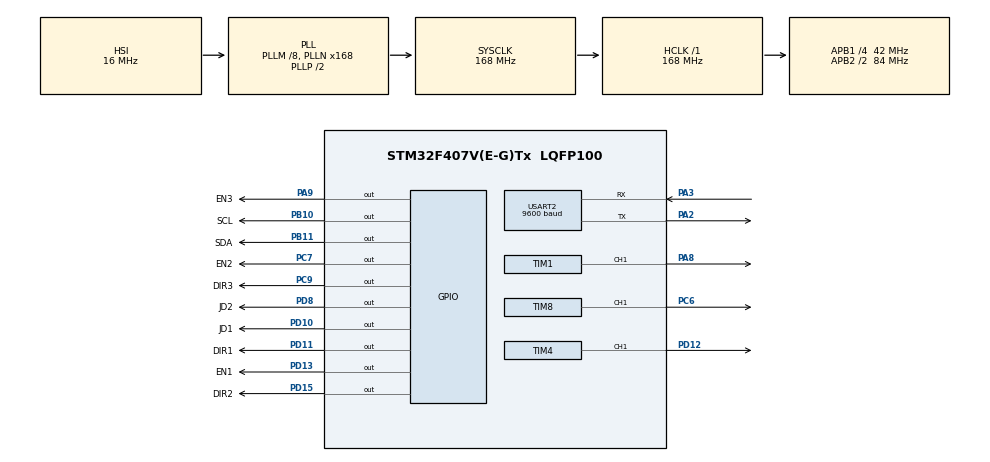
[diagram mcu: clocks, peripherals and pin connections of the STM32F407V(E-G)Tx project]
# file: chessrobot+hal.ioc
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Mcu.Family=STM32F4
Mcu.Name=STM32F407V(E-G)Tx
Mcu.Package=LQFP100
NVIC.PriorityGroup=NVIC_PRIORITYGROUP_4
NVIC.TIM1_UP_TIM10_IRQn=true\:0\:0\:false\:false\:true\:true\:true\:true
NVIC.TIM4_IRQn=true\:0\:0\:false\:false\:true\:true\:true\:true
NVIC.TIM8_UP_TIM13_IRQn=true\:0\:0\:false\:false\:true\:true\:true\:true
NVIC.USART2_IRQn=true\:1\:0\:true\:false\:true\:true\:true\:true
PA13.Mode=Serial_Wire
PA13.Signal=SYS_JTMS-SWDIO
PA14.Mode=Serial_Wire
PA14.Signal=SYS_JTCK-SWCLK
PA2.Mode=Asynchronous
PA2.Signal=USART2_TX
PA3.Mode=Asynchronous
PA3.Signal=USART2_RX
PA8.Signal=S_TIM1_CH1
PA9.GPIO_Label=EN3
PA9.GPIO_Speed=GPIO_SPEED_FREQ_MEDIUM
PA9.Signal=GPIO_Output
PB10.GPIO_Label=SCL
PB10.GPIO_ModeDefaultOutputPP=GPIO_MODE_OUTPUT_OD
PB10.GPIO_PuPd=GPIO_PULLUP
PB10.Signal=GPIO_Output
PB11.GPIO_Label=SDA
PB11.GPIO_ModeDefaultOutputPP=GPIO_MODE_OUTPUT_OD
PB11.GPIO_PuPd=GPIO_PULLUP
PB11.Signal=GPIO_Output
PC14-OSC32_IN.Mode=LSE-External-Oscillator
PC14-OSC32_IN.Signal=RCC_OSC32_IN
PC15-OSC32_OUT.Mode=LSE-External-Oscillator
PC15-OSC32_OUT.Signal=RCC_OSC32_OUT
PC6.Signal=S_TIM8_CH1
PC7.GPIO_Label=EN2
PC7.GPIO_Speed=GPIO_SPEED_FREQ_MEDIUM
PC7.Signal=GPIO_Output
PC9.GPIO_Label=DIR3
PC9.GPIO_Speed=GPIO_SPEED_FREQ_MEDIUM
PC9.Signal=GPIO_Output
PD10.GPIO_Label=JD1
PD10.GPIO_ModeDefaultOutputPP=GPIO_MODE_OUTPUT_PP
PD10.GPIO_PuPd=GPIO_NOPULL
PD10.PinState=GPIO_PIN_SET
PD10.Signal=GPIO_Output
PD11.GPIO_Label=DIR1
PD11.GPIO_Speed=GPIO_SPEED_FREQ_MEDIUM
PD11.Signal=GPIO_Output
PD12.Signal=S_TIM4_CH1
PD13.GPIO_Label=EN1
PD13.GPIO_Speed=GPIO_SPEED_FREQ_MEDIUM
PD13.Signal=GPIO_Output
PD15.GPIO_Label=DIR2
PD15.GPIO_Speed=GPIO_SPEED_FREQ_MEDIUM
PD15.Signal=GPIO_Output
PD8.GPIO_Label=JD2
PD8.Signal=GPIO_Output
PH0-OSC_IN.Mode=HSE-External-Oscillator
PH0-OSC_IN.Signal=RCC_OSC_IN
PH1-OSC_OUT.Mode=HSE-External-Oscillator
PH1-OSC_OUT.Signal=RCC_OSC_OUT
ProjectManager.HeapSize=0x200
ProjectManager.StackSize=0x400
ProjectManager.TargetToolchain=MDK-ARM V5.32
RCC.48MHZClocksFreq_Value=84000000
RCC.AHBFreq_Value=168000000
RCC.APB1CLKDivider=RCC_HCLK_DIV4
RCC.APB1Freq_Value=42000000
RCC.APB1TimFreq_Value=84000000
RCC.APB2CLKDivider=RCC_HCLK_DIV2
RCC.APB2Freq_Value=84000000
RCC.APB2TimFreq_Value=168000000
RCC.CortexFreq_Value=168000000
RCC.HCLKFreq_Value=168000000
RCC.HSE_VALUE=25000000
RCC.HSI_VALUE=16000000
RCC.PLLM=8
RCC.PLLN=168
RCC.SYSCLKFreq_VALUE=168000000
RCC.SYSCLKSource=RCC_SYSCLKSOURCE_PLLCLK
RCC.VCOOutputFreq_Value=336000000
SH.S_TIM1_CH1.0=TIM1_CH1,PWM Generation1 CH1
SH.S_TIM4_CH1.0=TIM4_CH1,PWM Generation1 CH1
SH.S_TIM8_CH1.0=TIM8_CH1,PWM Generation1 CH1
TIM1.AutoReloadPreload=TIM_AUTORELOAD_PRELOAD_ENABLE
TIM1.Channel-PWM\ Generation1\ CH1=TIM_CHANNEL_1
TIM1.Period=10000-1
TIM1.Prescaler=168-1
TIM13.Prescaler=168-1
TIM4.AutoReloadPreload=TIM_AUTORELOAD_PRELOAD_ENABLE
TIM4.Channel-PWM\ Generation1\ CH1=TIM_CHANNEL_1
TIM4.Period=10000-1
TIM4.Prescaler=168-1
TIM8.AutoReloadPreload=TIM_AUTORELOAD_PRELOAD_ENABLE
TIM8.Channel-PWM\ Generation1\ CH1=TIM_CHANNEL_1
TIM8.Period=10000-1
TIM8.Prescaler=168-1
TIM8.Pulse-PWM\ Generation1\ CH1=0
USART2.BaudRate=9600
USART2.VirtualMode=VM_ASYNC
VP_TIM13_VS_ClockSourceINT.Mode=Enable_Timer
VP_TIM1_VS_ClockSourceINT.Mode=Internal
VP_TIM4_VS_ClockSourceINT.Mode=Internal
VP_TIM8_VS_ClockSourceINT.Mode=Internal
board=custom

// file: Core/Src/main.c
/* USER CODE BEGIN Header */
/**
  ******************************************************************************
  * @file           : main.c
  * @brief          : Main program body
  ******************************************************************************
  * @attention
  *
  * Copyright (c) 2025 STMicroelectronics.
  * All rights reserved.
  *
  * This software is licensed under terms that can be found in the LICENSE file
  * in the root directory of this software component.
  * If no LICENSE file comes with this software, it is provided AS-IS.
  *
  ******************************************************************************
  */
/* USER CODE END Header */
#include "main.h"
#include "tim.h"
#include "usart.h"
#include "gpio.h"

/* USER CODE BEGIN Includes */
#include "H_Oled.h"
#include "tmc2209.h"
#include "poscal.h"
#include "airpump.h"
#include "Serial.h"
// #include "chess.h"
/* USER CODE END Includes */

/* USER CODE BEGIN PV */
typedef struct {
  float x, y, z;
} chess;

//中心坐标
chess chess_center={208,0,-40};
chess black_position={128,179,-50};
chess white_position={128,-179,-50};

//0表示放,1表示取
extern uint8_t putflag;
//0黑1白
extern uint8_t color;
extern uint8_t chess_x,chess_y;

//主程序状态
uint8_t status=0;
/* USER CODE END PV */

void SystemClock_Config(void);

int main(void)
{

  /* MCU Configuration--------------------------------------------------------*/

  /* Reset of all peripherals, Initializes the Flash interface and the Systick. */
  HAL_Init();

  /* Configure the system clock */
  SystemClock_Config();

  /* Initialize all configured peripherals */
  MX_GPIO_Init();
  MX_USART2_UART_Init();
  MX_TIM1_Init();
  MX_TIM4_Init();
  MX_TIM8_Init();
  MX_TIM13_Init();
  /* USER CODE BEGIN 2 */
  HAL_Delay(50);
  OLED_Init();
  HAL_Delay(50);
  OLED_Clear();
  HAL_Delay(50);
  /* USER CODE END 2 */

  /* Infinite loop */
  /* USER CODE BEGIN WHILE */

  //初始化电机
  tmc2209_init();
  //初始化气泵
  chess_init();
  //初始化串口
  Serial_Init();

  chess chess_temp;

  while (1)
  {
    if(status!=0){//串口接收数据已完成
      chess_temp.x=chess_x;
      chess_temp.y=chess_y;
      chess_temp.z=-40;
      if(putflag==0){
        switch (color){
          case 0://黑棋
          //0为吸
          angele_smothmove(black_position.x,black_position.y,black_position.z,0);
          //1为放
          angele_smothmove((chess_temp.x-7)*20+chess_center.x,(chess_temp.y-7)*20+chess_center.y,chess_temp.z,1);
          break;
          case 1://白棋
          //0为吸
          angele_smothmove(white_position.x,white_position.y,white_position.z,0);
          //1为放
          angele_smothmove((chess_temp.x-7)*20+chess_center.x,(chess_temp.y-7)*20+chess_center.y,chess_temp.z,1);
          break;
        }
      }else{
        switch (color){
          case 0://黑棋
          //0为吸
          //1为放
          angele_smothmove((chess_temp.x-7)*20+chess_center.x,(chess_temp.y-7)*20+chess_center.y,chess_temp.z,0);
          angele_smothmove(black_position.x,black_position.y,black_position.z,1);
          break;
          case 1://白棋
          //0为吸
          //1为放
          angele_smothmove((chess_temp.x-7)*20+chess_center.x,(chess_temp.y-7)*20+chess_center.y,chess_temp.z,0);
          angele_smothmove(white_position.x,white_position.y,white_position.z,0);
          break;
        }
      }
      //等待串口接收数据
      status=0;
      Serial_Send_Hexbuffer(0x01);
    }
    /* USER CODE END WHILE */

  }
}

void SystemClock_Config(void)
{
  RCC_OscInitTypeDef RCC_OscInitStruct = {0};
  RCC_ClkInitTypeDef RCC_ClkInitStruct = {0};

  /** Configure the main internal regulator output voltage
  */
  __HAL_RCC_PWR_CLK_ENABLE();
  __HAL_PWR_VOLTAGESCALING_CONFIG(PWR_REGULATOR_VOLTAGE_SCALE1);

  /** Initializes the RCC Oscillators according to the specified parameters
  * in the RCC_OscInitTypeDef structure.
  */
  RCC_OscInitStruct.OscillatorType = RCC_OSCILLATORTYPE_HSI;
  RCC_OscInitStruct.HSIState = RCC_HSI_ON;
  RCC_OscInitStruct.HSICalibrationValue = RCC_HSICALIBRATION_DEFAULT;
  RCC_OscInitStruct.PLL.PLLState = RCC_PLL_ON;
  RCC_OscInitStruct.PLL.PLLSource = RCC_PLLSOURCE_HSI;
  RCC_OscInitStruct.PLL.PLLM = 8;
  RCC_OscInitStruct.PLL.PLLN = 168;
  RCC_OscInitStruct.PLL.PLLP = RCC_PLLP_DIV2;
  RCC_OscInitStruct.PLL.PLLQ = 4;
  if (HAL_RCC_OscConfig(&RCC_OscInitStruct) != HAL_OK)
  {
    Error_Handler();
  }

  /** Initializes the CPU, AHB and APB buses clocks
  */
  RCC_ClkInitStruct.ClockType = RCC_CLOCKTYPE_HCLK|RCC_CLOCKTYPE_SYSCLK
                              |RCC_CLOCKTYPE_PCLK1|RCC_CLOCKTYPE_PCLK2;
  RCC_ClkInitStruct.SYSCLKSource = RCC_SYSCLKSOURCE_PLLCLK;
  RCC_ClkInitStruct.AHBCLKDivider = RCC_SYSCLK_DIV1;
  RCC_ClkInitStruct.APB1CLKDivider = RCC_HCLK_DIV4;
  RCC_ClkInitStruct.APB2CLKDivider = RCC_HCLK_DIV2;

  if (HAL_RCC_ClockConfig(&RCC_ClkInitStruct, FLASH_LATENCY_5) != HAL_OK)
  {
    Error_Handler();
  }
}

void Error_Handler(void)
{
  __disable_irq();
  while (1)
  {
  }
}
